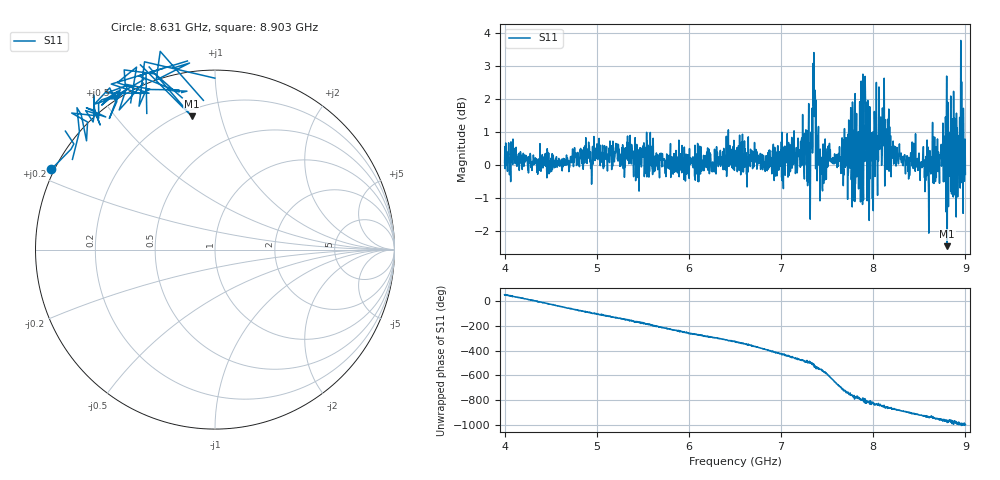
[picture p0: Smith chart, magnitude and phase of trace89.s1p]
! Created with skrf 1.8.0 (http://scikit-rf.org).
# Hz S RI R 50.0
!freq ReS11 ImS11
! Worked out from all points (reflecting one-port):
!   1601 points, 4 GHz to 9 GHz, reference 50 ohm
!   lowest |S11| = -2.5 dB at 8.803 GHz (marker M1), VSWR 7.10, Z = 11.9 + j40.7 ohm
!   phase of S11 starts at 50 deg and turns -1047 deg over the sweep
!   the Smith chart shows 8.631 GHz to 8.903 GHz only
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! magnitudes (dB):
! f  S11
! 4 GHz  0.1
! 4.625 GHz  -0.2
! 5.25 GHz  0.0
! 5.875 GHz  0.0
! 6.5 GHz  0.3
! 7 GHz  0.0
! 7.125 GHz  0.6
! 7.244 GHz  0.2
! 7.3 GHz  1.9
! 7.356 GHz  3.4
! 7.409 GHz  0.3
! 7.438 GHz  -0.1
! 7.509 GHz  0.1
! 7.656 GHz  -0.1
! 7.75 GHz  0.0
! 7.784 GHz  -0.5
! 7.828 GHz  0.6
! 7.922 GHz  0.5
! 7.981 GHz  0.4
! 8.009 GHz  0.8
! 8.097 GHz  0.3
! 8.375 GHz  0.1
! 8.434 GHz  -0.1
! 8.581 GHz  -0.3
! 8.803 GHz  -2.5
! 8.869 GHz  -1.0
! 8.956 GHz  0.5
! 9 GHz  -0.3
